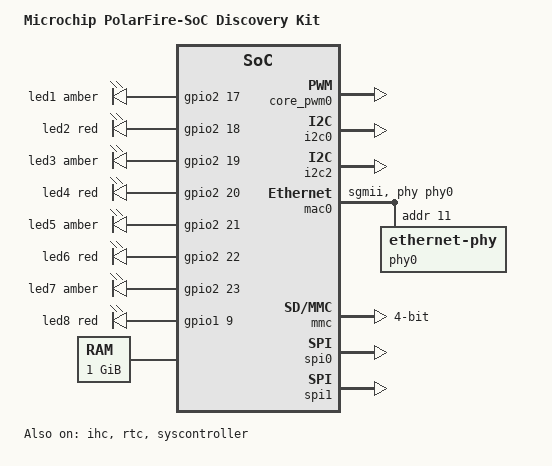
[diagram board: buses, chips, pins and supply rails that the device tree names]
// SPDX-License-Identifier: (GPL-2.0 OR MIT)
/* Copyright (c) 2020-2025 Microchip Technology Inc */

/dts-v1/;

#include "mpfs.dtsi"
#include "mpfs-disco-kit-fabric.dtsi"
#include <dt-bindings/gpio/gpio.h>
#include <dt-bindings/leds/common.h>

/ {
	model = "Microchip PolarFire-SoC Discovery Kit";
	compatible = "microchip,mpfs-disco-kit-reference-rtl-v2507",
		     "microchip,mpfs-disco-kit",
		     "microchip,mpfs";

	aliases {
		ethernet0 = &mac0;
		serial4 = &mmuart4;
	};

	chosen {
		stdout-path = "serial4:115200n8";
	};

	leds {
		compatible = "gpio-leds";

		led-1 {
			gpios = <&gpio2 17 GPIO_ACTIVE_HIGH>;
			color = <LED_COLOR_ID_AMBER>;
			label = "led1";
		};

		led-2 {
			gpios = <&gpio2 18 GPIO_ACTIVE_HIGH>;
			color = <LED_COLOR_ID_RED>;
			label = "led2";
		};

		led-3 {
			gpios = <&gpio2 19 GPIO_ACTIVE_HIGH>;
			color = <LED_COLOR_ID_AMBER>;
			label = "led3";
		};

		led-4 {
			gpios = <&gpio2 20 GPIO_ACTIVE_HIGH>;
			color = <LED_COLOR_ID_RED>;
			label = "led4";
		};

		led-5 {
			gpios = <&gpio2 21 GPIO_ACTIVE_HIGH>;
			color = <LED_COLOR_ID_AMBER>;
			label = "led5";
		};

		led-6 {
			gpios = <&gpio2 22 GPIO_ACTIVE_HIGH>;
			color = <LED_COLOR_ID_RED>;
			label = "led6";
		};

		led-7 {
			gpios = <&gpio2 23 GPIO_ACTIVE_HIGH>;
			color = <LED_COLOR_ID_AMBER>;
			label = "led7";
		};

		led-8 {
			gpios = <&gpio1 9 GPIO_ACTIVE_HIGH>;
			color = <LED_COLOR_ID_RED>;
			label = "led8";
		};
	};

	ddrc_cache_lo: memory@80000000 {
		device_type = "memory";
		reg = <0x0 0x80000000 0x0 0x40000000>;
	};

	reserved-memory {
		#address-cells = <2>;
		#size-cells = <2>;
		ranges;

		hss_payload: region@bfc00000 {
			reg = <0x0 0xbfc00000 0x0 0x400000>;
			no-map;
		};
	};
};

&core_pwm0 {
	status = "okay";
};

&gpio1 {
	status = "okay";
};

&gpio2 {
	status = "okay";
};

&i2c0 {
	status = "okay";
};

&i2c2 {
	status = "okay";
};

&ihc {
	status = "okay";
};

&irqmux {
	interrupt-map = <0 &plic 13>, <1 &plic 14>, <2 &plic 15>,
			<3 &plic 16>, <4 &plic 17>, <5 &plic 18>,
			<6 &plic 19>, <7 &plic 20>, <8 &plic 21>,
			<9 &plic 22>, <10 &plic 23>, <11 &plic 24>,
			<12 &plic 25>, <13 &plic 26>,

			<32 &plic 27>, <33 &plic 28>, <34 &plic 29>,
			<35 &plic 30>, <36 &plic 31>, <37 &plic 32>,
			<38 &plic 33>, <39 &plic 34>, <40 &plic 35>,
			<41 &plic 36>, <42 &plic 37>, <43 &plic 38>,
			<44 &plic 39>, <45 &plic 40>, <46 &plic 41>,
			<47 &plic 42>, <48 &plic 43>, <49 &plic 44>,
			<50 &plic 45>, <51 &plic 46>, <52 &plic 47>,
			<53 &plic 48>, <54 &plic 49>, <55 &plic 50>,

			<64 &plic 53>, <65 &plic 53>, <66 &plic 53>,
			<67 &plic 53>, <68 &plic 53>, <69 &plic 53>,
			<70 &plic 53>, <71 &plic 53>, <72 &plic 53>,
			<73 &plic 53>, <74 &plic 53>, <75 &plic 53>,
			<76 &plic 53>, <77 &plic 53>, <78 &plic 53>,
			<79 &plic 53>, <80 &plic 53>, <81 &plic 53>,
			<82 &plic 53>, <83 &plic 53>, <84 &plic 53>,
			<85 &plic 53>, <86 &plic 53>, <87 &plic 53>,
			<88 &plic 53>, <89 &plic 53>, <90 &plic 53>,
			<91 &plic 53>, <92 &plic 53>, <93 &plic 53>,
			<94 &plic 53>, <95 &plic 53>;
};

&mac0 {
	phy-mode = "sgmii";
	phy-handle = <&phy0>;
	status = "okay";

	phy0: ethernet-phy@b {
		reg = <0xb>;
	};
};

&mbox {
	status = "okay";
};

&mmc {
	bus-width = <4>;
	disable-wp;
	cap-sd-highspeed;
	cap-mmc-highspeed;
	sd-uhs-sdr12;
	sd-uhs-sdr25;
	sd-uhs-sdr50;
	sd-uhs-sdr104;
	no-1-8-v;
	status = "okay";
};

&mmuart1 {
	status = "okay";
};

&mmuart4 {
	status = "okay";
};

&refclk {
	clock-frequency = <125000000>;
};

&refclk_ccc {
	clock-frequency = <50000000>;
};

&rtc {
	status = "okay";
};

&spi0 {
	status = "okay";
};

&spi1 {
	status = "okay";
};

&syscontroller {
	status = "okay";
};
